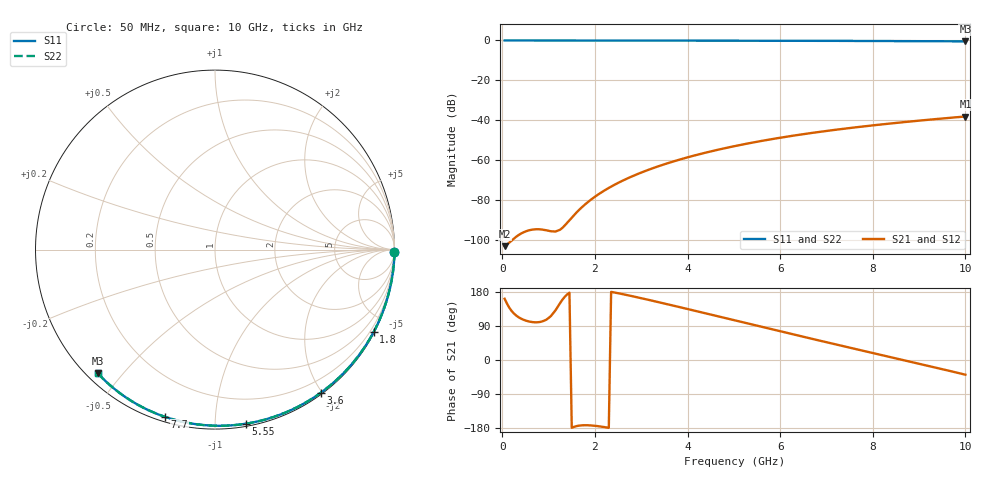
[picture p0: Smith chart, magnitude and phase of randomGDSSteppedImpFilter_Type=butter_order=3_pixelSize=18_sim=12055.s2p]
! freq	dB(S11)	phase(S11)	dB(S12)	phase(S12)
!  dB(S21)	phase(S21)	dB(S22)	phase(S22)
!S-par simulation data
#  GHz  S  DB  R 50
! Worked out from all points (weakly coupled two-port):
!   200 points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, 50 MHz to 10 GHz, reference 50 ohm
!   highest |S21| = -38.09 dB at 10 GHz (marker M1); lowest = -103.0 dB at 50 MHz (marker M2)
!   lowest |S11| = -0.5 dB at 10 GHz (marker M3), VSWR 38.46, Z = 1.54 - j21.5 ohm
!   |S11| at or under -10 dB: nowhere
!   |S22| runs from -0.5 to 0.0 dB; largest |S21 - S12| = 0
!   S11 on the Smith chart (normalised r, x): 50 MHz: open; 1.8 GHz: 0.04, -4.11; 3.6 GHz: 0.02, -1.99; 5.55 GHz: 0.02, -1.19; 7.7 GHz: 0.02, -0.74; 10 GHz: 0.03, -0.43
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0.05  -0.00 -0.8  -103.03 161.6  -103.03 161.6  -0.00 -0.8
0.45  -0.01 -6.9  -96.18 106.6  -96.18 106.6  -0.01 -6.9
0.9  -0.02 -13.8  -94.86 103.6  -94.86 103.6  -0.02 -13.8
1.75  -0.03 -26.6  -82.88 -172.2  -82.88 -172.2  -0.03 -26.6
1.8  -0.03 -27.4  -81.87 -172.1  -81.87 -172.1  -0.03 -27.4
1.9  -0.04 -28.8  -79.99 -172.5  -79.99 -172.5  -0.04 -28.8
2.05  -0.04 -31.1  -77.46 -174.3  -77.46 -174.3  -0.04 -31.1
2.25  -0.04 -34.0  -74.51 -178.0  -74.51 -178.0  -0.04 -34.0
2.45  -0.05 -37.0  -71.94 177.5  -71.94 177.5  -0.05 -37.0
2.65  -0.05 -39.9  -69.65 172.5  -69.65 172.5  -0.05 -39.9
3  -0.06 -44.9  -66.16 163.1  -66.16 163.1  -0.06 -44.9
3.4  -0.07 -50.6  -62.78 151.9  -62.78 151.9  -0.07 -50.6
3.6  -0.07 -53.5  -61.27 146.2  -61.27 146.2  -0.07 -53.5
4.3  -0.09 -63.2  -56.71 125.8  -56.71 125.8  -0.09 -63.2
5.05  -0.11 -73.3  -52.76 103.8  -52.76 103.8  -0.11 -73.3
5.55  -0.13 -79.8  -50.52 89.1  -50.52 89.1  -0.13 -79.8
6.1  -0.15 -86.9  -48.35 73.0  -48.35 73.0  -0.15 -86.9
6.7  -0.18 -94.4  -46.26 55.5  -46.26 55.5  -0.18 -94.4
7.7  -0.24 -106.6  -43.32 26.9  -43.32 26.9  -0.24 -106.6
8.35  -0.29 -114.3  -41.66 8.6  -41.66 8.6  -0.29 -114.3
9.15  -0.36 -123.7  -39.82 -14.1  -39.82 -14.1  -0.36 -123.7
10  -0.45 -133.5  -38.09 -38.8  -38.09 -38.8  -0.45 -133.5
